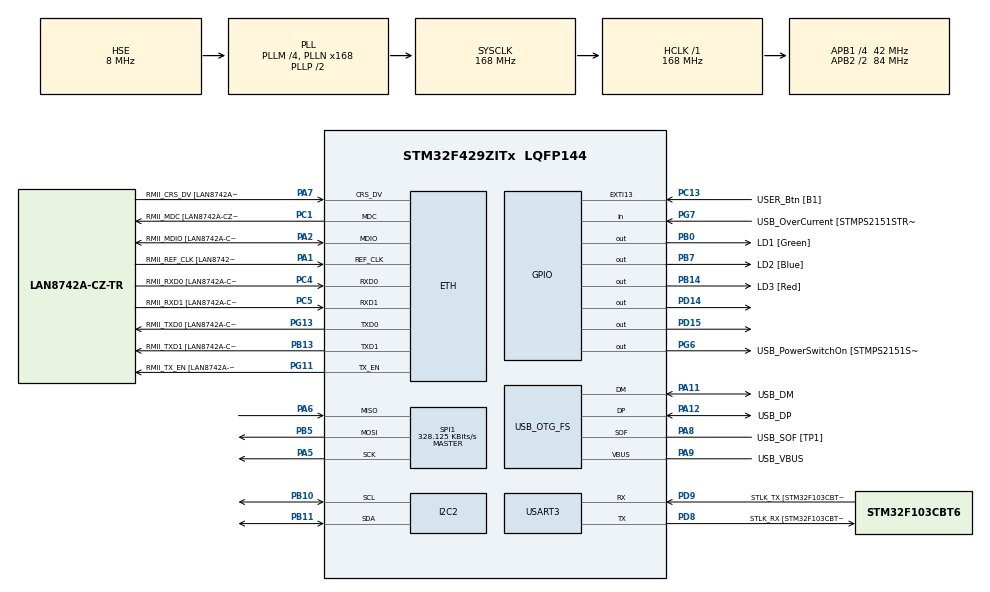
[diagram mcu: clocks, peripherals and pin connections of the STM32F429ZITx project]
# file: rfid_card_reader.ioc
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ETH.MediaInterface=HAL_ETH_RMII_MODE
ETH.PHY_Name=LAN8742A_PHY_ADDRESS
ETH.PHY_Value=0
ETH.PhyAddress=0
Mcu.Family=STM32F4
Mcu.Name=STM32F429ZITx
Mcu.Package=LQFP144
NVIC.PriorityGroup=NVIC_PRIORITYGROUP_4
PA1.GPIO_Label=RMII_REF_CLK [LAN8742A-CZ-TR_REFCLK0]
PA1.Mode=RMII
PA1.Signal=ETH_REF_CLK
PA10.GPIO_Label=USB_ID
PA10.Signal=USB_OTG_FS_ID
PA11.GPIO_Label=USB_DM
PA11.Mode=Device_Only
PA11.Signal=USB_OTG_FS_DM
PA12.GPIO_Label=USB_DP
PA12.Mode=Device_Only
PA12.Signal=USB_OTG_FS_DP
PA13.GPIO_Label=TMS
PA13.Mode=Serial_Wire
PA13.Signal=SYS_JTMS-SWDIO
PA14.GPIO_Label=TCK
PA14.Mode=Serial_Wire
PA14.Signal=SYS_JTCK-SWCLK
PA2.GPIO_Label=RMII_MDIO [LAN8742A-CZ-TR_MDIO]
PA2.Mode=RMII
PA2.Signal=ETH_MDIO
PA5.Mode=Full_Duplex_Master
PA5.Signal=SPI1_SCK
PA6.Mode=Full_Duplex_Master
PA6.Signal=SPI1_MISO
PA7.GPIO_Label=RMII_CRS_DV [LAN8742A-CZ-TR_CRS_DV]
PA7.Mode=RMII
PA7.Signal=ETH_CRS_DV
PA8.GPIO_Label=USB_SOF [TP1]
PA8.Mode=Activate_SOF_FS
PA8.Signal=USB_OTG_FS_SOF
PA9.GPIO_Label=USB_VBUS
PA9.Mode=Activate_VBUS
PA9.Signal=USB_OTG_FS_VBUS
PB0.GPIO_Label=LD1 [Green]
PB0.Signal=GPIO_Output
PB10.Mode=I2C
PB10.Signal=I2C2_SCL
PB11.Mode=I2C
PB11.Signal=I2C2_SDA
PB13.GPIO_Label=RMII_TXD1 [LAN8742A-CZ-TR_TXD1]
PB13.Mode=RMII
PB13.Signal=ETH_TXD1
PB14.GPIO_Label=LD3 [Red]
PB14.Signal=GPIO_Output
PB5.Mode=Full_Duplex_Master
PB5.Signal=SPI1_MOSI
PB7.GPIO_Label=LD2 [Blue]
PB7.Signal=GPIO_Output
PC1.GPIO_Label=RMII_MDC [LAN8742A-CZ-TR_MDC]
PC1.Mode=RMII
PC1.Signal=ETH_MDC
PC13.GPIO_Label=USER_Btn [B1]
PC13.Signal=GPXTI13
PC14/OSC32_IN.Mode=LSE-External-Oscillator
PC14/OSC32_IN.Signal=RCC_OSC32_IN
PC15/OSC32_OUT.Mode=LSE-External-Oscillator
PC15/OSC32_OUT.Signal=RCC_OSC32_OUT
PC4.GPIO_Label=RMII_RXD0 [LAN8742A-CZ-TR_RXD0]
PC4.Mode=RMII
PC4.Signal=ETH_RXD0
PC5.GPIO_Label=RMII_RXD1 [LAN8742A-CZ-TR_RXD1]
PC5.Mode=RMII
PC5.Signal=ETH_RXD1
PD14.Signal=GPIO_Output
PD15.Signal=GPIO_Output
PD8.GPIO_Label=STLK_RX [STM32F103CBT6_PA3]
PD8.Mode=Asynchronous
PD8.Signal=USART3_TX
PD9.GPIO_Label=STLK_TX [STM32F103CBT6_PA2]
PD9.Mode=Asynchronous
PD9.Signal=USART3_RX
PG11.GPIO_Label=RMII_TX_EN [LAN8742A-CZ-TR_TXEN]
PG11.Mode=RMII
PG11.Signal=ETH_TX_EN
PG13.GPIO_Label=RMII_TXD0 [LAN8742A-CZ-TR_TXD0]
PG13.Mode=RMII
PG13.Signal=ETH_TXD0
PG6.GPIO_Label=USB_PowerSwitchOn [STMPS2151STR_EN]
PG6.Signal=GPIO_Output
PG7.GPIO_Label=USB_OverCurrent [STMPS2151STR_FAULT]
PG7.Signal=GPIO_Input
PH0/OSC_IN.GPIO_Label=MCO [STM32F103CBT6_PA8]
PH0/OSC_IN.Mode=HSE-External-Clock-Source
PH0/OSC_IN.Signal=RCC_OSC_IN
PH1/OSC_OUT.Mode=HSE-External-Clock-Source
PH1/OSC_OUT.Signal=RCC_OSC_OUT
ProjectManager.HeapSize=0x200
ProjectManager.StackSize=0x400
ProjectManager.TargetToolchain=STM32CubeIDE
RCC.48MHZClocksFreq_Value=48000000
RCC.AHBFreq_Value=168000000
RCC.APB1CLKDivider=RCC_HCLK_DIV4
RCC.APB1Freq_Value=42000000
RCC.APB1TimFreq_Value=84000000
RCC.APB2CLKDivider=RCC_HCLK_DIV2
RCC.APB2Freq_Value=84000000
RCC.APB2TimCLKDivider=2
RCC.APB2TimFreq_Value=168000000
RCC.CortexFreq_Value=168000000
RCC.HCLKFreq_Value=168000000
RCC.HSE_VALUE=8000000
RCC.HSI_VALUE=16000000
RCC.PLLM=4
RCC.PLLMUL=RCC_PLL_MUL9
RCC.PLLN=168
RCC.PLLQ=7
RCC.PRESCALERUSB=RCC_USBCLKSOURCE_PLL_DIV1_5
RCC.SYSCLKFreq_VALUE=168000000
RCC.SYSCLKSource=RCC_SYSCLKSOURCE_PLLCLK
RCC.SYSCLKSourceVirtual=RCC_SYSCLKSOURCE_PLLCLK
RCC.USBFreq_Value=48000000
RCC.VCOOutputFreq_Value=336000000
SPI1.BaudRatePrescaler=SPI_BAUDRATEPRESCALER_256
SPI1.CalculateBaudRate=328.125 KBits/s
SPI1.Direction=SPI_DIRECTION_2LINES
SPI1.Mode=SPI_MODE_MASTER
SPI1.VirtualType=VM_MASTER
USART3.VirtualMode=VM_ASYNC
USB_OTG_FS.VirtualMode=Device_Only
board=NUCLEO-F429ZI

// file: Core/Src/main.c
/* USER CODE BEGIN Header */
/**
  ******************************************************************************
  * @file           : main.c
  * @brief          : Main program body
  ******************************************************************************
  * @attention
  *
  * Copyright (c) 2026 STMicroelectronics.
  * All rights reserved.
  *
  * This software is licensed under terms that can be found in the LICENSE file
  * in the root directory of this software component.
  * If no LICENSE file comes with this software, it is provided AS-IS.
  *
  ******************************************************************************
  */
/* USER CODE END Header */
#include "main.h"
#include "string.h"

/* USER CODE BEGIN Includes */
#include "rc522.h"
#include "lcd.h"
#include "API_delay.h"
/* USER CODE END Includes */

ETH_TxPacketConfig TxConfig;
ETH_DMADescTypeDef  DMARxDscrTab[ETH_RX_DESC_CNT]; /* Ethernet Rx DMA Descriptors */
ETH_DMADescTypeDef  DMATxDscrTab[ETH_TX_DESC_CNT]; /* Ethernet Tx DMA Descriptors */

ETH_HandleTypeDef heth;

I2C_HandleTypeDef hi2c2;

SPI_HandleTypeDef hspi1;

UART_HandleTypeDef huart3;

PCD_HandleTypeDef hpcd_USB_OTG_FS;

void SystemClock_Config(void);
static void MX_GPIO_Init(void);
static void MX_ETH_Init(void);
static void MX_USART3_UART_Init(void);
static void MX_USB_OTG_FS_PCD_Init(void);
static void MX_I2C2_Init(void);
static void MX_SPI1_Init(void);

int main(void)
{

  /* MCU Configuration--------------------------------------------------------*/

  /* Reset of all peripherals, Initializes the Flash interface and the Systick. */
  HAL_Init();

  /* Configure the system clock */
  SystemClock_Config();

  /* USER CODE BEGIN SysInit */
  /* Delay to check visual heart beat of the Nucleo */
  delay_t delay;
  delayInit(&delay, 100);
  /* USER CODE END SysInit */

  /* Initialize all configured peripherals */
  MX_GPIO_Init();
  MX_ETH_Init();
  MX_USART3_UART_Init();
  MX_USB_OTG_FS_PCD_Init();
  MX_I2C2_Init();
  MX_SPI1_Init();
  /* USER CODE BEGIN 2 */

  spi_device_t spi_dev = {
	hspi1,
	GPIOD,
	GPIO_PIN_14
  };

  reset_device_t rst = {
	GPIOD,
	GPIO_PIN_15
  };

  card_reader_initialize(&spi_dev, &rst);
  lcd_initialize(&hi2c2);

  /* USER CODE END 2 */

  /* Infinite loop */
  /* USER CODE BEGIN WHILE */
  while (1)
  {
	  card_reader_poll();
	  lcd_poll();

	  if(delayRead(&delay)) {
		  /* Toggling LED indicates the device is working */
		  HAL_GPIO_TogglePin(LD2_GPIO_Port, LD2_Pin);
	  }
    /* USER CODE END WHILE */

  }
}

void SystemClock_Config(void)
{
  RCC_OscInitTypeDef RCC_OscInitStruct = {0};
  RCC_ClkInitTypeDef RCC_ClkInitStruct = {0};

  /** Configure the main internal regulator output voltage
  */
  __HAL_RCC_PWR_CLK_ENABLE();
  __HAL_PWR_VOLTAGESCALING_CONFIG(PWR_REGULATOR_VOLTAGE_SCALE1);

  /** Initializes the RCC Oscillators according to the specified parameters
  * in the RCC_OscInitTypeDef structure.
  */
  RCC_OscInitStruct.OscillatorType = RCC_OSCILLATORTYPE_HSE;
  RCC_OscInitStruct.HSEState = RCC_HSE_BYPASS;
  RCC_OscInitStruct.PLL.PLLState = RCC_PLL_ON;
  RCC_OscInitStruct.PLL.PLLSource = RCC_PLLSOURCE_HSE;
  RCC_OscInitStruct.PLL.PLLM = 4;
  RCC_OscInitStruct.PLL.PLLN = 168;
  RCC_OscInitStruct.PLL.PLLP = RCC_PLLP_DIV2;
  RCC_OscInitStruct.PLL.PLLQ = 7;
  if (HAL_RCC_OscConfig(&RCC_OscInitStruct) != HAL_OK)
  {
    Error_Handler();
  }

  /** Initializes the CPU, AHB and APB buses clocks
  */
  RCC_ClkInitStruct.ClockType = RCC_CLOCKTYPE_HCLK|RCC_CLOCKTYPE_SYSCLK
                              |RCC_CLOCKTYPE_PCLK1|RCC_CLOCKTYPE_PCLK2;
  RCC_ClkInitStruct.SYSCLKSource = RCC_SYSCLKSOURCE_PLLCLK;
  RCC_ClkInitStruct.AHBCLKDivider = RCC_SYSCLK_DIV1;
  RCC_ClkInitStruct.APB1CLKDivider = RCC_HCLK_DIV4;
  RCC_ClkInitStruct.APB2CLKDivider = RCC_HCLK_DIV2;

  if (HAL_RCC_ClockConfig(&RCC_ClkInitStruct, FLASH_LATENCY_5) != HAL_OK)
  {
    Error_Handler();
  }
}

static void MX_ETH_Init(void)
{

   static uint8_t MACAddr[6];

  heth.Instance = ETH;
  MACAddr[0] = 0x00;
  MACAddr[1] = 0x80;
  MACAddr[2] = 0xE1;
  MACAddr[3] = 0x00;
  MACAddr[4] = 0x00;
  MACAddr[5] = 0x00;
  heth.Init.MACAddr = &MACAddr[0];
  heth.Init.MediaInterface = HAL_ETH_RMII_MODE;
  heth.Init.TxDesc = DMATxDscrTab;
  heth.Init.RxDesc = DMARxDscrTab;
  heth.Init.RxBuffLen = 1524;

  if (HAL_ETH_Init(&heth) != HAL_OK)
  {
    Error_Handler();
  }

  memset(&TxConfig, 0 , sizeof(ETH_TxPacketConfig));
  TxConfig.Attributes = ETH_TX_PACKETS_FEATURES_CSUM | ETH_TX_PACKETS_FEATURES_CRCPAD;
  TxConfig.ChecksumCtrl = ETH_CHECKSUM_IPHDR_PAYLOAD_INSERT_PHDR_CALC;
  TxConfig.CRCPadCtrl = ETH_CRC_PAD_INSERT;

}

static void MX_I2C2_Init(void)
{

  hi2c2.Instance = I2C2;
  hi2c2.Init.ClockSpeed = 100000;
  hi2c2.Init.DutyCycle = I2C_DUTYCYCLE_2;
  hi2c2.Init.OwnAddress1 = 0;
  hi2c2.Init.AddressingMode = I2C_ADDRESSINGMODE_7BIT;
  hi2c2.Init.DualAddressMode = I2C_DUALADDRESS_DISABLE;
  hi2c2.Init.OwnAddress2 = 0;
  hi2c2.Init.GeneralCallMode = I2C_GENERALCALL_DISABLE;
  hi2c2.Init.NoStretchMode = I2C_NOSTRETCH_DISABLE;
  if (HAL_I2C_Init(&hi2c2) != HAL_OK)
  {
    Error_Handler();
  }

  /** Configure Analogue filter
  */
  if (HAL_I2CEx_ConfigAnalogFilter(&hi2c2, I2C_ANALOGFILTER_ENABLE) != HAL_OK)
  {
    Error_Handler();
  }

  /** Configure Digital filter
  */
  if (HAL_I2CEx_ConfigDigitalFilter(&hi2c2, 0) != HAL_OK)
  {
    Error_Handler();
  }

}

static void MX_SPI1_Init(void)
{

  /* SPI1 parameter configuration*/
  hspi1.Instance = SPI1;
  hspi1.Init.Mode = SPI_MODE_MASTER;
  hspi1.Init.Direction = SPI_DIRECTION_2LINES;
  hspi1.Init.DataSize = SPI_DATASIZE_8BIT;
  hspi1.Init.CLKPolarity = SPI_POLARITY_LOW;
  hspi1.Init.CLKPhase = SPI_PHASE_1EDGE;
  hspi1.Init.NSS = SPI_NSS_SOFT;
  hspi1.Init.BaudRatePrescaler = SPI_BAUDRATEPRESCALER_256;
  hspi1.Init.FirstBit = SPI_FIRSTBIT_MSB;
  hspi1.Init.TIMode = SPI_TIMODE_DISABLE;
  hspi1.Init.CRCCalculation = SPI_CRCCALCULATION_DISABLE;
  hspi1.Init.CRCPolynomial = 10;
  if (HAL_SPI_Init(&hspi1) != HAL_OK)
  {
    Error_Handler();
  }

}

static void MX_USART3_UART_Init(void)
{

  huart3.Instance = USART3;
  huart3.Init.BaudRate = 115200;
  huart3.Init.WordLength = UART_WORDLENGTH_8B;
  huart3.Init.StopBits = UART_STOPBITS_1;
  huart3.Init.Parity = UART_PARITY_NONE;
  huart3.Init.Mode = UART_MODE_TX_RX;
  huart3.Init.HwFlowCtl = UART_HWCONTROL_NONE;
  huart3.Init.OverSampling = UART_OVERSAMPLING_16;
  if (HAL_UART_Init(&huart3) != HAL_OK)
  {
    Error_Handler();
  }

}

static void MX_USB_OTG_FS_PCD_Init(void)
{

  hpcd_USB_OTG_FS.Instance = USB_OTG_FS;
  hpcd_USB_OTG_FS.Init.dev_endpoints = 4;
  hpcd_USB_OTG_FS.Init.speed = PCD_SPEED_FULL;
  hpcd_USB_OTG_FS.Init.dma_enable = DISABLE;
  hpcd_USB_OTG_FS.Init.phy_itface = PCD_PHY_EMBEDDED;
  hpcd_USB_OTG_FS.Init.Sof_enable = ENABLE;
  hpcd_USB_OTG_FS.Init.low_power_enable = DISABLE;
  hpcd_USB_OTG_FS.Init.lpm_enable = DISABLE;
  hpcd_USB_OTG_FS.Init.vbus_sensing_enable = ENABLE;
  hpcd_USB_OTG_FS.Init.use_dedicated_ep1 = DISABLE;
  if (HAL_PCD_Init(&hpcd_USB_OTG_FS) != HAL_OK)
  {
    Error_Handler();
  }

}

static void MX_GPIO_Init(void)
{
  GPIO_InitTypeDef GPIO_InitStruct = {0};

  /* GPIO Ports Clock Enable */
  __HAL_RCC_GPIOC_CLK_ENABLE();
  __HAL_RCC_GPIOH_CLK_ENABLE();
  __HAL_RCC_GPIOA_CLK_ENABLE();
  __HAL_RCC_GPIOB_CLK_ENABLE();
  __HAL_RCC_GPIOD_CLK_ENABLE();
  __HAL_RCC_GPIOG_CLK_ENABLE();

  /*Configure GPIO pin Output Level */
  HAL_GPIO_WritePin(GPIOB, LD1_Pin|LD3_Pin|LD2_Pin, GPIO_PIN_RESET);

  /*Configure GPIO pin Output Level */
  HAL_GPIO_WritePin(GPIOD, GPIO_PIN_14|GPIO_PIN_15, GPIO_PIN_RESET);

  /*Configure GPIO pin Output Level */
  HAL_GPIO_WritePin(USB_PowerSwitchOn_GPIO_Port, USB_PowerSwitchOn_Pin, GPIO_PIN_RESET);

  /*Configure GPIO pin : USER_Btn_Pin */
  GPIO_InitStruct.Pin = USER_Btn_Pin;
  GPIO_InitStruct.Mode = GPIO_MODE_IT_RISING;
  GPIO_InitStruct.Pull = GPIO_NOPULL;
  HAL_GPIO_Init(USER_Btn_GPIO_Port, &GPIO_InitStruct);

  /*Configure GPIO pins : LD1_Pin LD3_Pin LD2_Pin */
  GPIO_InitStruct.Pin = LD1_Pin|LD3_Pin|LD2_Pin;
  GPIO_InitStruct.Mode = GPIO_MODE_OUTPUT_PP;
  GPIO_InitStruct.Pull = GPIO_NOPULL;
  GPIO_InitStruct.Speed = GPIO_SPEED_FREQ_LOW;
  HAL_GPIO_Init(GPIOB, &GPIO_InitStruct);

  /*Configure GPIO pins : PD14 PD15 */
  GPIO_InitStruct.Pin = GPIO_PIN_14|GPIO_PIN_15;
  GPIO_InitStruct.Mode = GPIO_MODE_OUTPUT_PP;
  GPIO_InitStruct.Pull = GPIO_NOPULL;
  GPIO_InitStruct.Speed = GPIO_SPEED_FREQ_LOW;
  HAL_GPIO_Init(GPIOD, &GPIO_InitStruct);

  /*Configure GPIO pin : USB_PowerSwitchOn_Pin */
  GPIO_InitStruct.Pin = USB_PowerSwitchOn_Pin;
  GPIO_InitStruct.Mode = GPIO_MODE_OUTPUT_PP;
  GPIO_InitStruct.Pull = GPIO_NOPULL;
  GPIO_InitStruct.Speed = GPIO_SPEED_FREQ_LOW;
  HAL_GPIO_Init(USB_PowerSwitchOn_GPIO_Port, &GPIO_InitStruct);

  /*Configure GPIO pin : USB_OverCurrent_Pin */
  GPIO_InitStruct.Pin = USB_OverCurrent_Pin;
  GPIO_InitStruct.Mode = GPIO_MODE_INPUT;
  GPIO_InitStruct.Pull = GPIO_NOPULL;
  HAL_GPIO_Init(USB_OverCurrent_GPIO_Port, &GPIO_InitStruct);

}

void Error_Handler(void)
{
  __disable_irq();
  while (1)
  {
  }
}
